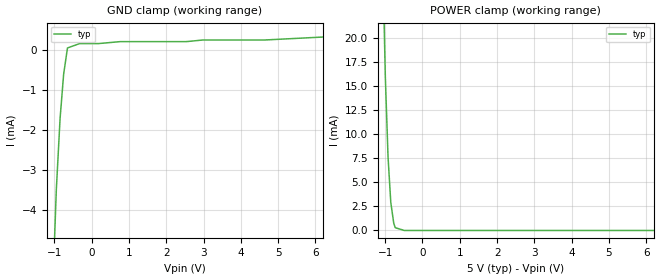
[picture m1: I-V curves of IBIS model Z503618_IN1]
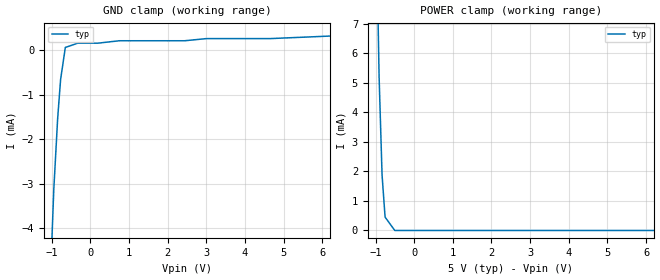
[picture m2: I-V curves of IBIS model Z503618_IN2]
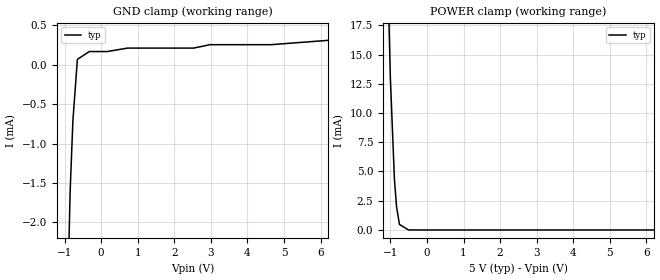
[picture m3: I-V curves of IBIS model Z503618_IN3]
| YOU ARE ONLY AUTHORIZED TO USE THIS SOFTWARE
| ACCORDING TO LICENSOR'S LICENSE RESTRICTIONS.
[IBIS Ver] 3.1
[File Name] mc14511bl.ibs
[File Rev] 2.0
[Source] Measured and created by ICX Technology
[Date] Friday 7/14/00 9:07:56 AM
[Copyright]
| (C) COPYRIGHT 1993-2000
| MENTOR GRAPHICS CORPORATION
| ICX STANDARD LIBRARY, ICX PROJECT MODELING,
| ICX CUSTOM MODELING, ICX VENDOR MODEL
| ALL RIGHTS RESERVED.
| THE FOLLOWING ARE TRADEMARKS OR SERVICE MARKS OF
| MENTOR GRAPHICS CORPORATION:ICX (R), ICX STANDARD
| LIBRARY(R), ICX PROJECT MODELING(R), ICX CUSTOM
| MODELING(R), qualityIBIS(TM), MODELVIEWER(TM),
| AND MODELEDITOR(TM)
| ALL COPIES OF SOFTWARE, INCLUDING BUT NOT LIMITED TO
| ANY MODIFICATIONS, ENHANCEMENTS OR DERIVATIVE WORKS,
| MUST CONTAIN ALL MENTOR GRAPHICS CORPORATION'S
| NOTICES AND LEGENDS, INCLUDING THOSE EMBEDDED IN
| SOFTWARE AND THOSE AFFIXED TO SOFTWARE MEDIUM
| AND CONTAINER, AS RECEIVED FROM MENTOR GRAPHICS
| CORPORATION.
|  ZAP Model Builder 2.7
[Component] MC14511BL
[Manufacturer] OnSemiconductor
[Package]
| variable   typ   min   max
R_pkg  .212ohms NA NA
L_pkg  4.758nH NA NA
C_pkg  1.944pF NA NA
[Pin] signal_name  model_name  R_pin  L_pin C_pin
1 B Z503618_IN1 .224 7.258n 2.683p
2 C Z503618_IN1 .216 5.258n 2.19p
3 _LT Z503618_IN2 .208 3.758n 1.697p
4 _BI Z503618_IN3 .2 2.758n 1.204p
5 LE Z503618_IN4 .2 2.758n 1.204p
6 D Z503618_IN1 .208 3.758n 1.697p
7 A Z503618_IN1 .216 5.258n 2.19p
8 VSS POWER .224 7.258n 2.683p
9 e Z503618_OUT5 .224 7.258n 2.683p
10 d Z503618_OUT5 .216 5.258n 2.19p
11 c Z503618_OUT5 .208 3.758n 1.697p
12 b Z503618_OUT5 .2 2.758n 1.204p
13 a Z503618_OUT5 .2 2.758n 1.204p
14 g Z503618_OUT5 .208 3.758n 1.697p
15 f Z503618_OUT5 .216 5.258n 2.19p
16 VDD POWER .224 7.258n 2.683p
| Models and submodels in the file (5): Z503618_IN1 (Input), Z503618_IN2 (Input), Z503618_IN3 (Input), Z503618_IN4 (Input), Z503618_OUT5 (Output)
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| (C) COPYRIGHT 1993-2000
| MENTOR GRAPHICS CORPORATION
| ICX STANDARD LIBRARY, ICX PROJECT MODELING,
| ICX CUSTOM MODELING, ICX VENDOR MODEL
| ALL RIGHTS RESERVED.
| THE FOLLOWING ARE TRADEMARKS OR SERVICE MARKS OF
| MENTOR GRAPHICS CORPORATION:ICX (R), ICX STANDARD
| LIBRARY(R), ICX PROJECT MODELING(R), ICX CUSTOM
| MODELING(R), qualityIBIS(TM), MODELVIEWER(TM),
| AND MODELEDITOR(TM)
| ALL COPIES OF SOFTWARE, INCLUDING BUT NOT LIMITED TO
| ANY MODIFICATIONS, ENHANCEMENTS OR DERIVATIVE WORKS,
| MUST CONTAIN ALL MENTOR GRAPHICS CORPORATION'S
| NOTICES AND LEGENDS, INCLUDING THOSE EMBEDDED IN
| SOFTWARE AND THOSE AFFIXED TO SOFTWARE MEDIUM
| AND CONTAINER, AS RECEIVED FROM MENTOR GRAPHICS
| CORPORATION.
| Model Application Version 1.89 2/18/99.
[Model] Z503618_IN1
Model_type Input
Vinl = 1.500V
Vinh = 3.500V
C_comp 4.000pF NA NA
| variable typ   min   max
[Voltage Range] 5.000V NA NA
[GND Clamp Reference] 0.000V NA NA
[POWER Clamp Reference] 5.000V NA NA
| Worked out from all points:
|   GND clamp passes 1 mA (typ) near -0.79 V on its own axis
|   POWER clamp passes 1 mA (typ) near -0.78 V on its own axis
[GND Clamp]
-5V       -210.3mA   NA         NA
-1.005V   -4.996mA   NA         NA
-847.4mV  -1.723mA   NA         NA
-751.7mV  -608.1uA   NA         NA
-648.5mV  53.16uA    NA         NA
-324.3mV  162.9uA    NA         NA
179mV     162.9uA    NA         NA
768.1mV   212.2uA    NA         NA
2.537V    212.2uA    NA         NA
2.979V    252.5uA    NA         NA
4.627V    252.5uA    NA         NA
10V       507.8uA    NA         NA
[POWER Clamp]
-5V       1.266A     NA         NA
-1.206V   61.83mA    NA         NA
-1.062V   27.47mA    NA         NA
-996mV    15.97mA    NA         NA
-923mV    7.627mA    NA         NA
-850mV    2.928mA    NA         NA
-771mV    776.1uA    NA         NA
-732mV    292.7uA    NA         NA
-488mV    0A         NA         NA
10V       0A         NA         NA
| (C) COPYRIGHT 1993-2000
| MENTOR GRAPHICS CORPORATION
| ICX STANDARD LIBRARY, ICX PROJECT MODELING,
| ICX CUSTOM MODELING, ICX VENDOR MODEL
| ALL RIGHTS RESERVED.
| THE FOLLOWING ARE TRADEMARKS OR SERVICE MARKS OF
| MENTOR GRAPHICS CORPORATION:ICX (R), ICX STANDARD
| LIBRARY(R), ICX PROJECT MODELING(R), ICX CUSTOM
| MODELING(R), qualityIBIS(TM), MODELVIEWER(TM),
| AND MODELEDITOR(TM)
| ALL COPIES OF SOFTWARE, INCLUDING BUT NOT LIMITED TO
| ANY MODIFICATIONS, ENHANCEMENTS OR DERIVATIVE WORKS,
| MUST CONTAIN ALL MENTOR GRAPHICS CORPORATION'S
| NOTICES AND LEGENDS, INCLUDING THOSE EMBEDDED IN
| SOFTWARE AND THOSE AFFIXED TO SOFTWARE MEDIUM
| AND CONTAINER, AS RECEIVED FROM MENTOR GRAPHICS
| CORPORATION.
| Model Application Version 1.89 2/18/99.
[Model] Z503618_IN2
Model_type Input
Vinl = 1.500V
Vinh = 3.500V
C_comp 4.000pF NA NA
| variable typ   min   max
[Voltage Range] 5.000V NA NA
[GND Clamp Reference] 0.000V NA NA
[POWER Clamp Reference] 5.000V NA NA
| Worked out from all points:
|   GND clamp passes 1 mA (typ) near -0.80 V on its own axis
|   POWER clamp passes 1 mA (typ) near -0.78 V on its own axis
[GND Clamp]
-5V       -196.8mA   NA         NA
-1.006V   -4.47mA    NA         NA
-847.8mV  -1.543mA   NA         NA
-771.3mV  -660.9uA   NA         NA
-648.5mV  59.08uA    NA         NA
-324.3mV  155uA      NA         NA
198.1mV   155uA      NA         NA
747.8mV   208.7uA    NA         NA
2.435V    208.7uA    NA         NA
2.998V    257uA      NA         NA
4.646V    257uA      NA         NA
10V       453.9uA    NA         NA
[POWER Clamp]
-5V       623.7mA    NA         NA
-1.23V    39.1mA     NA         NA
-1.055V   17.26mA    NA         NA
-1.001V   11.98mA    NA         NA
-907mV    5.212mA    NA         NA
-830mV    1.869mA    NA         NA
-752mV    452.5uA    NA         NA
-501.3mV  0A         NA         NA
10V       0A         NA         NA
| (C) COPYRIGHT 1993-2000
| MENTOR GRAPHICS CORPORATION
| ICX STANDARD LIBRARY, ICX PROJECT MODELING,
| ICX CUSTOM MODELING, ICX VENDOR MODEL
| ALL RIGHTS RESERVED.
| THE FOLLOWING ARE TRADEMARKS OR SERVICE MARKS OF
| MENTOR GRAPHICS CORPORATION:ICX (R), ICX STANDARD
| LIBRARY(R), ICX PROJECT MODELING(R), ICX CUSTOM
| MODELING(R), qualityIBIS(TM), MODELVIEWER(TM),
| AND MODELEDITOR(TM)
| ALL COPIES OF SOFTWARE, INCLUDING BUT NOT LIMITED TO
| ANY MODIFICATIONS, ENHANCEMENTS OR DERIVATIVE WORKS,
| MUST CONTAIN ALL MENTOR GRAPHICS CORPORATION'S
| NOTICES AND LEGENDS, INCLUDING THOSE EMBEDDED IN
| SOFTWARE AND THOSE AFFIXED TO SOFTWARE MEDIUM
| AND CONTAINER, AS RECEIVED FROM MENTOR GRAPHICS
| CORPORATION.
| Model Application Version 1.89 2/18/99.
[Model] Z503618_IN3
Model_type Input
Vinl = 1.500V
Vinh = 3.500V
C_comp 4.000pF NA NA
| variable typ   min   max
[Voltage Range] 5.000V NA NA
[GND Clamp Reference] 0.000V NA NA
[POWER Clamp Reference] 5.000V NA NA
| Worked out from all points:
|   GND clamp passes 1 mA (typ) near -0.80 V on its own axis
|   POWER clamp passes 1 mA (typ) near -0.78 V on its own axis
[GND Clamp]
-5V       -203.2mA   NA         NA
-1.005V   -4.844mA   NA         NA
-847.5mV  -1.624mA   NA         NA
-771.4mV  -712.4uA   NA         NA
-648.7mV  66.13uA    NA         NA
-324.3mV  165.3uA    NA         NA
166.2mV   165.3uA    NA         NA
723mV     209.1uA    NA         NA
2.528V    209.1uA    NA         NA
2.979V    252.3uA    NA         NA
4.641V    252.3uA    NA         NA
10V       440.9uA    NA         NA
[POWER Clamp]
-5V       651.9mA    NA         NA
-1.176V   35.43mA    NA         NA
-1V       13.08mA    NA         NA
-888mV    4.322mA    NA         NA
-830mV    2.008mA    NA         NA
-751mV    474.4uA    NA         NA
-500.7mV  0A         NA         NA
10V       0A         NA         NA
